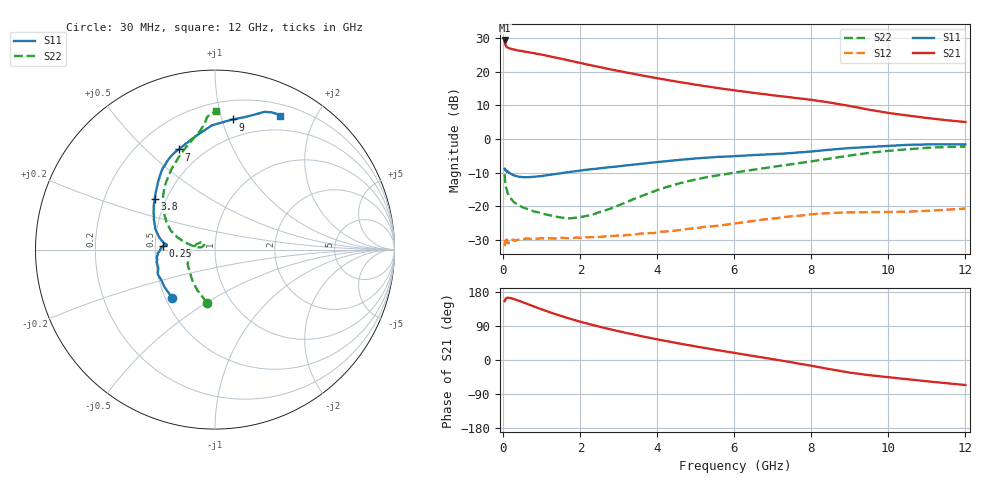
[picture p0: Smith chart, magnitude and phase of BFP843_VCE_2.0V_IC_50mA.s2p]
! Infineon Technologies  Discrete & RF Semiconductors
! BFP843
! VCE =  2.0 V,  IC =  50 mA
! Common Emitter S-Parameters:  Aug 2013
# GHz  S  MA  R  50
!  f  S11  S21  S12  S22
! GHz  MAG  ANG  MAG  ANG  MAG  ANG  MAG  ANG
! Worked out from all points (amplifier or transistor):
!   103 points, 30 MHz to 12 GHz, reference 50 ohm
!   highest |S21| = 29.3 dB at 30 MHz (marker M1)
!   |S21| within 3 dB of that: start of sweep to 387.8 MHz
!   unconditionally stable (mu >= 1): 67.59 MHz to 87.67 MHz; 90.8 MHz to 10.09 GHz
!   at 400 MHz: K = 1.06, MAG = 26.7 dB, |S12| = -30.0 dB
!   at 3.7 GHz: K = 1.38, MAG = 19.7 dB, |S12| = -28.1 dB
!   at 12 GHz: K = 0.82, MSG = 12.9 dB, |S12| = -20.7 dB
!   S11 on the Smith chart (normalised r, x): 30 MHz: 0.54, -0.33; 250 MHz: 0.55, +0.02; 3.8 GHz: 0.43, +0.30; 7 GHz: 0.37, +0.64; 9 GHz: 0.35, +1.08; 12 GHz: 0.33, +1.55
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0.03  0.3596 -131.6  29.12 155.1  0.0254 28.1  0.2983 -98.8
0.04  0.3501 -144.0  26.58 157.3  0.0264 22.4  0.2472 -113.3
0.05  0.344 -150.1  25.3 160.4  0.0293 14.9  0.2189 -124.1
0.07  0.332 -161.9  23.73 162.8  0.0276 15.4  0.1837 -140.8
0.08  0.3319 -165.6  23.49 163.4  0.0289 15.9  0.1799 -144.6
0.13  0.3193 -175.1  22.58 164.5  0.0292 11.0  0.1489 -166.2
0.25  0.2909 176.1  21.53 161.4  0.0318 8.2  0.1182 172.7
0.7  0.2708 174.1  19.23 144.7  0.0326 6.1  0.0876 152.3
1.1  0.287 172.5  17.4 129.8  0.033 6.9  0.0753 149.1
1.6  0.3161 168.0  15.13 112.9  0.0335 8.2  0.0665 155.3
2.1  0.3445 162.4  13.06 98.1  0.0345 10.1  0.0704 165.5
2.5  0.3656 157.1  11.69 87.7  0.0348 12.1  0.0819 170.7
2.9  0.3861 151.9  10.5 78.1  0.0362 13.9  0.0979 172.0
3.8  0.4408 139.8  8.378 58.4  0.0399 18.2  0.1577 167.5
4.1  0.459 136.0  7.786 52.4  0.0418 19.0  0.1813 164.9
5  0.5132 126.9  6.384 35.6  0.0472 20.2  0.2502 158.7
6.1  0.5581 118.8  5.183 17.1  0.0562 19.4  0.3212 148.5
7  0.5935 109.9  4.448 2.0  0.0656 15.1  0.3835 139.0
8.5  0.6927 91.4  3.458 -24.6  0.079 3.0  0.5122 118.0
9  0.7318 82.3  3.086 -33.3  0.0808 -1.7  0.5672 109.6
10.5  0.8161 70.2  2.229 -50.7  0.0828 -10.0  0.7018 94.8
12  0.8283 64.2  1.784 -66.0  0.092 -17.4  0.7703 89.5
